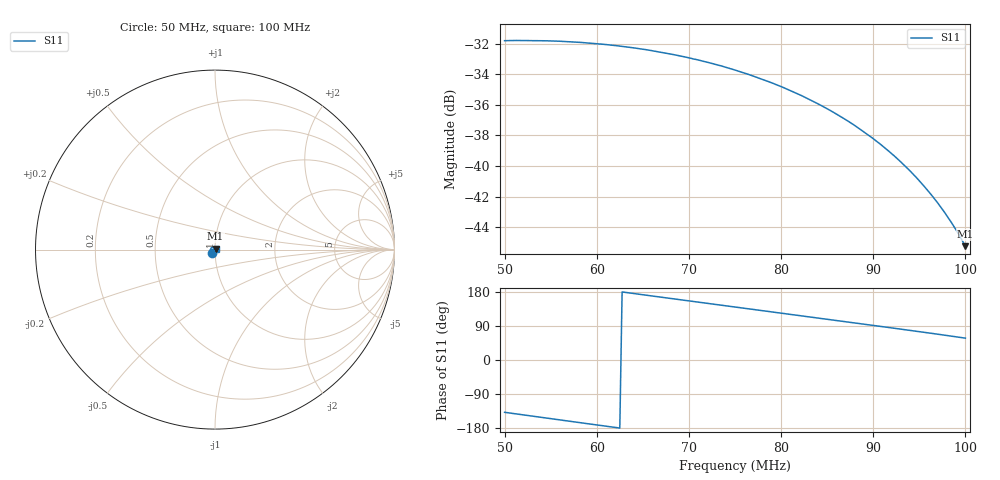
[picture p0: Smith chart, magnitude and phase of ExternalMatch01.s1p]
!Agilent Technologies,E5072A,MY51200456,A.01.06
!Date: Thu Sep 03 21:04:03 2015
!Data & Calibration Information:
!Freq	S11:SOLT1(ON)
!PortZ  Port1:50+j0
!Above PortZ is port z conversion or system Z0 setting when saving the data.
!When reading, reference impedance value at option line is always used.
# Hz S dB R 50
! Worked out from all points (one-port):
!   201 points, 50 MHz to 100 MHz, reference 50 ohm
!   lowest |S11| = -45.2 dB at 100 MHz (marker M1), VSWR 1.01, Z = 50.3 + j0.465 ohm
!   |S11| at or under -10 dB: start of sweep to end of sweep
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5e7  -31.80 -138.0
5.3e7  -31.79 -148.1
5.625e7  -31.85 -158.9
5.95e7  -31.97 -169.7
6.25e7  -32.16 -179.6
6.55e7  -32.41 170.6
6.875e7  -32.76 160.0
7.225e7  -33.25 148.7
7.5e7  -33.72 139.7
7.625e7  -33.96 135.7
7.825e7  -34.39 129.3
8.025e7  -34.87 122.8
8.125e7  -35.13 119.6
8.275e7  -35.54 114.7
8.45e7  -36.09 109.1
8.625e7  -36.69 103.5
8.75e7  -37.15 99.4
8.925e7  -37.88 93.7
9.075e7  -38.56 88.8
9.225e7  -39.32 83.9
9.375e7  -40.18 79.0
9.525e7  -41.13 74.0
9.6e7  -41.66 71.5
9.7e7  -42.42 68.1
9.775e7  -43.04 65.6
9.875e7  -43.95 62.1
9.925e7  -44.44 60.3
1e8  -45.24 57.6
